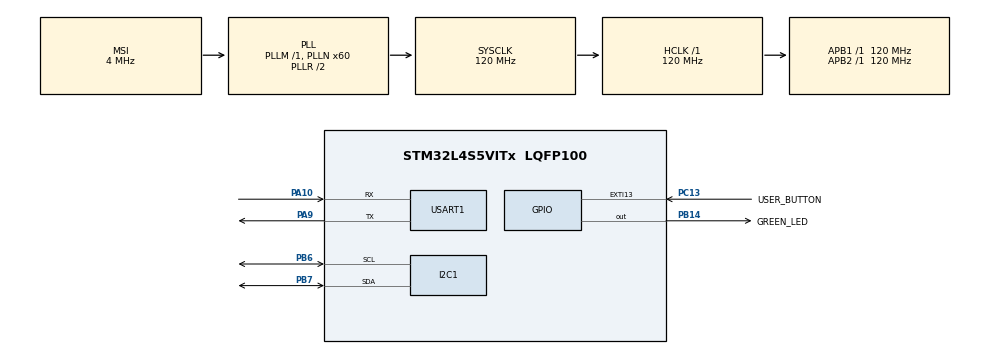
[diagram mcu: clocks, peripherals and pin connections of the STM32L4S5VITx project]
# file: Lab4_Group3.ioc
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I2C1.Timing=0x307075B1
Mcu.Family=STM32L4
Mcu.Name=STM32L4S5VITx
Mcu.Package=LQFP100
NVIC.EXTI15_10_IRQn=true\:0\:0\:false\:false\:true\:true\:true
NVIC.PriorityGroup=NVIC_PRIORITYGROUP_4
NVIC.TIM6_DAC_IRQn=true\:0\:0\:false\:false\:true\:false\:true
NVIC.TimeBase=TIM6_DAC_IRQn
NVIC.TimeBaseIP=TIM6
PA10.Mode=Asynchronous
PA10.Signal=USART1_RX
PA9.Mode=Asynchronous
PA9.Signal=USART1_TX
PB14.GPIO_Label=GREEN_LED
PB14.Signal=GPIO_Output
PB6.Mode=I2C
PB6.Signal=I2C1_SCL
PB7.Mode=I2C
PB7.Signal=I2C1_SDA
PC13.GPIO_Label=USER_BUTTON
PC13.Signal=GPXTI13
ProjectManager.HeapSize=0x200
ProjectManager.StackSize=0x400
ProjectManager.TargetToolchain=STM32CubeIDE
RCC.ADCFreq_Value=48000000
RCC.AHBFreq_Value=120000000
RCC.APB1Freq_Value=120000000
RCC.APB1TimFreq_Value=120000000
RCC.APB2Freq_Value=120000000
RCC.APB2TimFreq_Value=120000000
RCC.CortexFreq_Value=120000000
RCC.HCLKFreq_Value=120000000
RCC.HSE_VALUE=8000000
RCC.HSI48_VALUE=48000000
RCC.HSI_VALUE=16000000
RCC.LSE_VALUE=32768
RCC.MSI_VALUE=4000000
RCC.PLLN=60
RCC.PLLSAI1N=24
RCC.SYSCLKFreq_VALUE=120000000
RCC.SYSCLKSource=RCC_SYSCLKSOURCE_PLLCLK
RCC.USBFreq_Value=48000000
RCC.VCOOutputFreq_Value=240000000
USART1.VirtualMode-Asynchronous=VM_ASYNC
VP_SYS_VS_tim6.Mode=TIM6
board=B-L4S5I-IOT01A

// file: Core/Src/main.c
/* USER CODE BEGIN Header */
/**
  ******************************************************************************
  * @file           : main.c
  * @brief          : Main program body
  ******************************************************************************
  * @attention
  *
  * <h2><center>&copy; Copyright (c) 2021 STMicroelectronics.
  * All rights reserved.</center></h2>
  *
  * This software component is licensed by ST under BSD 3-Clause license,
  * the "License"; You may not use this file except in compliance with the
  * License. You may obtain a copy of the License at:
  *                        opensource.org/licenses/BSD-3-Clause
  *
  ******************************************************************************
  */
/* USER CODE END Header */
#include "main.h"

/* USER CODE BEGIN Includes */
#include "stm32l4s5i_iot01.h"
#include "stm32l4s5i_iot01_accelero.h"
#include "stm32l4s5i_iot01_gyro.h"
#include "stm32l4s5i_iot01_hsensor.h"
#include "stm32l4s5i_iot01_magneto.h"
#include "stm32l4s5i_iot01_psensor.h"
#include "stm32l4s5i_iot01_qspi.h"
#include "stm32l4s5i_iot01_tsensor.h"
/* USER CODE END Includes */

I2C_HandleTypeDef hi2c1;

UART_HandleTypeDef huart1;

void SystemClock_Config(void);
static void MX_GPIO_Init(void);
static void MX_I2C1_Init(void);
static void MX_USART1_UART_Init(void);

/* USER CODE BEGIN 0 */
char buffer[100];
int counter = 0;
int16_t acceleration[3];
/* USER CODE END 0 */

int main(void)
{

  /* MCU Configuration--------------------------------------------------------*/

  /* Reset of all peripherals, Initializes the Flash interface and the Systick. */
  HAL_Init();

  /* Configure the system clock */
  SystemClock_Config();

  /* Initialize all configured peripherals */
  MX_GPIO_Init();
  MX_I2C1_Init();
  MX_USART1_UART_Init();
  /* USER CODE BEGIN 2 */
  BSP_ACCELERO_Init();
  BSP_GYRO_Init();
  BSP_MAGNETO_Init();
  BSP_MAGNETO_LowPower(1);
  BSP_HSENSOR_Init();
  BSP_PSENSOR_Init();
  BSP_TSENSOR_Init();
  /* USER CODE END 2 */

  /* Infinite loop */
  /* USER CODE BEGIN WHILE */
  while (1){
	BSP_ACCELERO_AccGetXYZ(acceleration);
	HAL_Delay(10);
	sprintf(buffer, "Acceleration = %d m/s^2\n", acceleration[0]);
	HAL_UART_Transmit(&huart1, buffer, strlen(buffer), 5);
    /* USER CODE END WHILE */

  }
}

void SystemClock_Config(void)
{
  RCC_OscInitTypeDef RCC_OscInitStruct = {0};
  RCC_ClkInitTypeDef RCC_ClkInitStruct = {0};
  RCC_PeriphCLKInitTypeDef PeriphClkInit = {0};

  /** Configure the main internal regulator output voltage
  */
  if (HAL_PWREx_ControlVoltageScaling(PWR_REGULATOR_VOLTAGE_SCALE1_BOOST) != HAL_OK)
  {
    Error_Handler();
  }
  /** Initializes the RCC Oscillators according to the specified parameters
  * in the RCC_OscInitTypeDef structure.
  */
  RCC_OscInitStruct.OscillatorType = RCC_OSCILLATORTYPE_MSI;
  RCC_OscInitStruct.MSIState = RCC_MSI_ON;
  RCC_OscInitStruct.MSICalibrationValue = 0;
  RCC_OscInitStruct.MSIClockRange = RCC_MSIRANGE_6;
  RCC_OscInitStruct.PLL.PLLState = RCC_PLL_ON;
  RCC_OscInitStruct.PLL.PLLSource = RCC_PLLSOURCE_MSI;
  RCC_OscInitStruct.PLL.PLLM = 1;
  RCC_OscInitStruct.PLL.PLLN = 60;
  RCC_OscInitStruct.PLL.PLLP = RCC_PLLP_DIV2;
  RCC_OscInitStruct.PLL.PLLQ = RCC_PLLQ_DIV2;
  RCC_OscInitStruct.PLL.PLLR = RCC_PLLR_DIV2;
  if (HAL_RCC_OscConfig(&RCC_OscInitStruct) != HAL_OK)
  {
    Error_Handler();
  }
  /** Initializes the CPU, AHB and APB buses clocks
  */
  RCC_ClkInitStruct.ClockType = RCC_CLOCKTYPE_HCLK|RCC_CLOCKTYPE_SYSCLK
                              |RCC_CLOCKTYPE_PCLK1|RCC_CLOCKTYPE_PCLK2;
  RCC_ClkInitStruct.SYSCLKSource = RCC_SYSCLKSOURCE_PLLCLK;
  RCC_ClkInitStruct.AHBCLKDivider = RCC_SYSCLK_DIV1;
  RCC_ClkInitStruct.APB1CLKDivider = RCC_HCLK_DIV1;
  RCC_ClkInitStruct.APB2CLKDivider = RCC_HCLK_DIV1;

  if (HAL_RCC_ClockConfig(&RCC_ClkInitStruct, FLASH_LATENCY_5) != HAL_OK)
  {
    Error_Handler();
  }
  PeriphClkInit.PeriphClockSelection = RCC_PERIPHCLK_USART1|RCC_PERIPHCLK_I2C1;
  PeriphClkInit.Usart1ClockSelection = RCC_USART1CLKSOURCE_PCLK2;
  PeriphClkInit.I2c1ClockSelection = RCC_I2C1CLKSOURCE_PCLK1;
  if (HAL_RCCEx_PeriphCLKConfig(&PeriphClkInit) != HAL_OK)
  {
    Error_Handler();
  }
}

static void MX_I2C1_Init(void)
{

  hi2c1.Instance = I2C1;
  hi2c1.Init.Timing = 0x307075B1;
  hi2c1.Init.OwnAddress1 = 0;
  hi2c1.Init.AddressingMode = I2C_ADDRESSINGMODE_7BIT;
  hi2c1.Init.DualAddressMode = I2C_DUALADDRESS_DISABLE;
  hi2c1.Init.OwnAddress2 = 0;
  hi2c1.Init.OwnAddress2Masks = I2C_OA2_NOMASK;
  hi2c1.Init.GeneralCallMode = I2C_GENERALCALL_DISABLE;
  hi2c1.Init.NoStretchMode = I2C_NOSTRETCH_DISABLE;
  if (HAL_I2C_Init(&hi2c1) != HAL_OK)
  {
    Error_Handler();
  }
  /** Configure Analogue filter
  */
  if (HAL_I2CEx_ConfigAnalogFilter(&hi2c1, I2C_ANALOGFILTER_ENABLE) != HAL_OK)
  {
    Error_Handler();
  }
  /** Configure Digital filter
  */
  if (HAL_I2CEx_ConfigDigitalFilter(&hi2c1, 0) != HAL_OK)
  {
    Error_Handler();
  }

}

static void MX_USART1_UART_Init(void)
{

  huart1.Instance = USART1;
  huart1.Init.BaudRate = 115200;
  huart1.Init.WordLength = UART_WORDLENGTH_8B;
  huart1.Init.StopBits = UART_STOPBITS_1;
  huart1.Init.Parity = UART_PARITY_NONE;
  huart1.Init.Mode = UART_MODE_TX_RX;
  huart1.Init.HwFlowCtl = UART_HWCONTROL_NONE;
  huart1.Init.OverSampling = UART_OVERSAMPLING_16;
  huart1.Init.OneBitSampling = UART_ONE_BIT_SAMPLE_DISABLE;
  huart1.Init.ClockPrescaler = UART_PRESCALER_DIV1;
  huart1.AdvancedInit.AdvFeatureInit = UART_ADVFEATURE_NO_INIT;
  if (HAL_UART_Init(&huart1) != HAL_OK)
  {
    Error_Handler();
  }
  if (HAL_UARTEx_SetTxFifoThreshold(&huart1, UART_TXFIFO_THRESHOLD_1_8) != HAL_OK)
  {
    Error_Handler();
  }
  if (HAL_UARTEx_SetRxFifoThreshold(&huart1, UART_RXFIFO_THRESHOLD_1_8) != HAL_OK)
  {
    Error_Handler();
  }
  if (HAL_UARTEx_DisableFifoMode(&huart1) != HAL_OK)
  {
    Error_Handler();
  }

}

static void MX_GPIO_Init(void)
{
  GPIO_InitTypeDef GPIO_InitStruct = {0};

  /* GPIO Ports Clock Enable */
  __HAL_RCC_GPIOC_CLK_ENABLE();
  __HAL_RCC_GPIOB_CLK_ENABLE();
  __HAL_RCC_GPIOA_CLK_ENABLE();

  /*Configure GPIO pin Output Level */
  HAL_GPIO_WritePin(GREEN_LED_GPIO_Port, GREEN_LED_Pin, GPIO_PIN_RESET);

  /*Configure GPIO pin : USER_BUTTON_Pin */
  GPIO_InitStruct.Pin = USER_BUTTON_Pin;
  GPIO_InitStruct.Mode = GPIO_MODE_IT_RISING;
  GPIO_InitStruct.Pull = GPIO_NOPULL;
  HAL_GPIO_Init(USER_BUTTON_GPIO_Port, &GPIO_InitStruct);

  /*Configure GPIO pin : GREEN_LED_Pin */
  GPIO_InitStruct.Pin = GREEN_LED_Pin;
  GPIO_InitStruct.Mode = GPIO_MODE_OUTPUT_PP;
  GPIO_InitStruct.Pull = GPIO_NOPULL;
  GPIO_InitStruct.Speed = GPIO_SPEED_FREQ_LOW;
  HAL_GPIO_Init(GREEN_LED_GPIO_Port, &GPIO_InitStruct);

  /* EXTI interrupt init*/
  HAL_NVIC_SetPriority(EXTI15_10_IRQn, 0, 0);
  HAL_NVIC_EnableIRQ(EXTI15_10_IRQn);

}

 /**
  * @brief  Period elapsed callback in non blocking mode
  * @note   This function is called  when TIM6 interrupt took place, inside
  * HAL_TIM_IRQHandler(). It makes a direct call to HAL_IncTick() to increment
  * a global variable "uwTick" used as application time base.
  * @param  htim : TIM handle
  * @retval None
  */
void HAL_TIM_PeriodElapsedCallback(TIM_HandleTypeDef *htim)
{
  if (htim->Instance == TIM6) {
    HAL_IncTick();
  }
}

void Error_Handler(void)
{
  __disable_irq();
  while (1)
  {
  }
}

/************************ (C) COPYRIGHT STMicroelectronics *****END OF FILE****/
